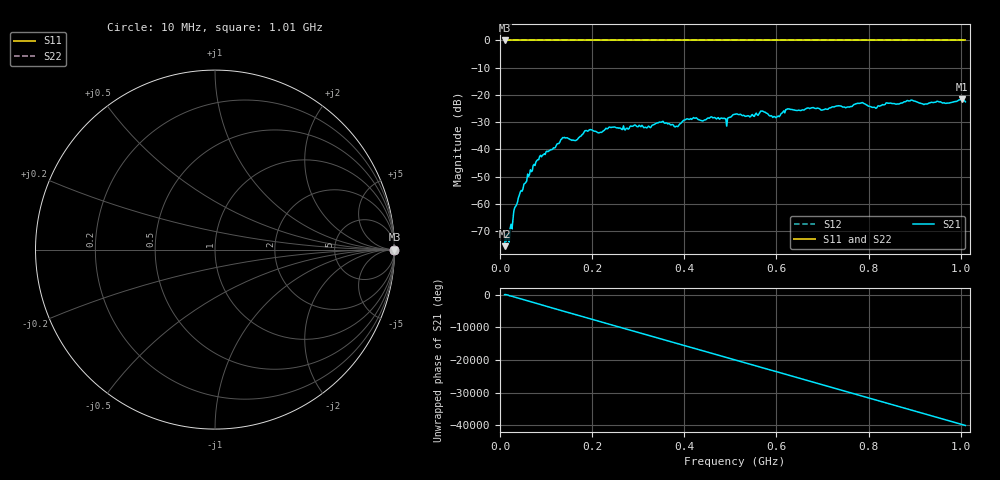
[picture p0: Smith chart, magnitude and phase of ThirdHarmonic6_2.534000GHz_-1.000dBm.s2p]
! 8/17/2025 5:04:32 AM
! C:\ANRITSUVNA\TEMP\TEMP.S2P
! CHANNEL.1
! TR.MEASUREMENT
! RAW.DATA
! RF.CORRECTION.OFF
! AVERAGING.OFF
! IF.BANDWIDTH: 5KHZ
! SWEEPTYPE:  FREQ.SWEEP(Linear)
! Reference Plane Port Info
! PORT:  PORT1  PORT2
! DISTANCE:  0  m  0  m
! TIME:  0  s  0  s
! PHASE.OFFSET:  0  deg.  0  deg.
! LOSS:  0  dB  0  dB
! REF.LOSS:  0  dB  0  dB
! REF.FREQ:  0  Hz  0  Hz
! Power Info
! POWER:  -20  dBm  -20  dBm
! EFF.POWER:  -20  dBm  -20  dBm
! SOURCE.ATTEN:  0  dB  0  dB
! TEST.ATTEN:  0  dB  0  dB
# GHZ S RI R 50.0
! FREQ.GHZ  S11RE  S11IM  S21RE  S21IM  S12RE  S12IM  S22RE  S22IM
!; PortSelection: Port_12
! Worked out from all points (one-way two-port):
!   501 points, 10 MHz to 1.01 GHz, reference 50 ohm
!   highest |S21| = -21.67 dB at 1.002 GHz (marker M1); lowest = -75.6 dB at 10 MHz (marker M2)
!   lowest |S11| = 0.0 dB at 10 MHz (marker M3)
!   |S11| at or under -10 dB: nowhere
!   |S22| runs from 0.0 to 0.0 dB; largest |S21 - S12| = 1.1
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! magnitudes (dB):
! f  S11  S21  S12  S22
! 10 MHz  0.0  -75.6  0.0  0.0
! 22 MHz  0.0  -69.0  0.0  0.0
! 32 MHz  0.0  -61.4  0.0  0.0
! 42 MHz  0.0  -56.8  0.0  0.0
! 84 MHz  0.0  -43.8  0.0  0.0
! 136 MHz  0.0  -35.7  0.0  0.0
! 164 MHz  0.0  -36.8  0.0  0.0
! 178 MHz  0.0  -34.6  0.0  0.0
! 344 MHz  0.0  -30.2  0.0  0.0
! 382 MHz  0.0  -31.5  0.0  0.0
! 404 MHz  0.0  -29.0  0.0  0.0
! 492 MHz  0.0  -31.5  0.0  0.0
! 510 MHz  0.0  -27.1  0.0  0.0
! 570 MHz  0.0  -25.9  0.0  0.0
! 596 MHz  0.0  -28.0  0.0  0.0
! 624 MHz  0.0  -25.1  0.0  0.0
! 678 MHz  0.0  -24.7  0.0  0.0
! 784 MHz  0.0  -23.0  0.0  0.0
! 814 MHz  0.0  -24.7  0.0  0.0
! 844 MHz  0.0  -23.1  0.0  0.0
! 1.002 GHz  0.0  -21.7  0.0  0.0
! 1.01 GHz  0.0  -22.5  0.0  0.0
